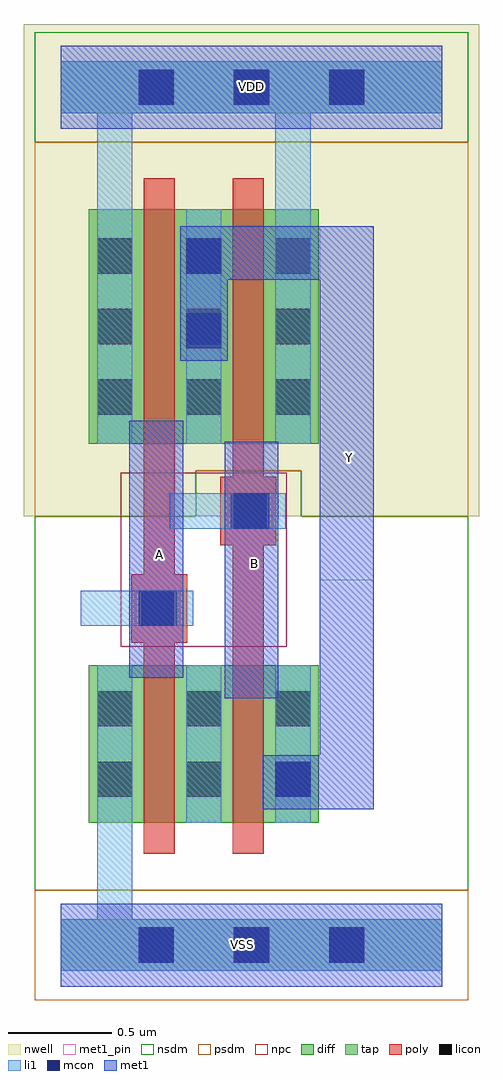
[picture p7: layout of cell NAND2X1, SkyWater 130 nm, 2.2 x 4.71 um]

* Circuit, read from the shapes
.subckt NAND2X1 A B VDD VSS Y
XM1 n1 A VSS VSS sky130_fd_pr__nfet_01v8 w=0.76 l=0.15
XM2 Y B n1 VSS sky130_fd_pr__nfet_01v8 w=0.76 l=0.15
XM3 Y A VDD VDD sky130_fd_pr__pfet_01v8 w=1.13 l=0.15
XM4 VDD B Y VDD sky130_fd_pr__pfet_01v8 w=1.13 l=0.15
.ends

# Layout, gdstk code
from math import pi, radians
import gdstk
lib = gdstk.Library(unit=1e-6, precision=1e-09)
def R(c, l, rs):  # rectangles x0, y0, x1, y1
    for r in rs: c.add(gdstk.rectangle(r[:2], r[2:], *l))
def A(c, l, x, y, w, h, nx, ny, dx, dy):  # array of equal rectangles
    R(c, l, [(x+i*dx, y+j*dy, x+i*dx+w, y+j*dy+h) for i in range(nx) for j in range(ny)])
def P(c, l, *ps):  # polygons
    for p in ps: c.add(gdstk.Polygon(p, *l))
nwell = (64, 20)
diff = (65, 20)
tap = (65, 44)
poly = (66, 20)
licon = (66, 44)
li1 = (67, 20)
mcon = (67, 44)
met1_pin = (68, 16)
met1 = (68, 20)
nsdm = (93, 44)
psdm = (94, 20)
npc = (95, 20)

pyl1con_c_cdns_751554744 = lib.new_cell('PYL1CON_C_CDNS_751554744751')
R(pyl1con_c_cdns_751554744, poly, [(-0.135,-0.165,0.135,0.165)])
R(pyl1con_c_cdns_751554744, licon, [(-0.085,-0.085,0.085,0.085)])
R(pyl1con_c_cdns_751554744, npc, [(-0.185,-0.185,0.185,0.185)])

l1m1_c_cdns_751554744750 = lib.new_cell('L1M1_C_CDNS_751554744750$$14')
R(l1m1_c_cdns_751554744750, li1, [(-0.085,-0.165,0.085,0.165)])
R(l1m1_c_cdns_751554744750, mcon, [(-0.085,-0.085,0.085,0.085)])
R(l1m1_c_cdns_751554744750, met1, [(-0.145,-0.145,0.115,0.115)])

c_l1m1_c_cdns_751554744750 = lib.new_cell('L1M1_C_CDNS_751554744750$$7')
R(c_l1m1_c_cdns_751554744750, li1, [(-0.085,-0.345,0.085,0.345)])
R(c_l1m1_c_cdns_751554744750, mcon, [(-0.085,-0.265,0.085,-0.095), (-0.085,0.095,0.085,0.265)])
R(c_l1m1_c_cdns_751554744750, met1, [(-0.115,-0.325,0.115,0.325)])

c_l1m1_c_cdns_751554744750_ = lib.new_cell('L1M1_C_CDNS_751554744750$$9')
R(c_l1m1_c_cdns_751554744750_, li1, [(-0.165,-0.085,0.165,0.085)])
R(c_l1m1_c_cdns_751554744750_, mcon, [(-0.085,-0.085,0.085,0.085)])
R(c_l1m1_c_cdns_751554744750_, met1, [(-0.115,-0.145,0.115,0.145)])

nand2x1 = lib.new_cell('NAND2X1')
R(nand2x1, nwell, [(-0.18,2.07,2.02,4.445)])
R(nand2x1, diff, [(0.135,0.59,1.245,1.35), (0.135,2.42,1.245,3.55)])
R(nand2x1, poly, [(0.4,0.44,0.55,3.7), (0.83,0.44,0.98,3.7)])
A(nand2x1, licon, 0.375, -0.085, 0.17, 0.17, 3, 2, 0.46, 4.14)
A(nand2x1, licon, 0.175, 0.715, 0.17, 0.17, 3, 2, 0.43, 0.34)
A(nand2x1, licon, 0.175, 2.56, 0.17, 0.17, 3, 3, 0.43, 0.34)
R(nand2x1, li1, [(1.035,0.59,1.205,1.35), (0.605,2.42,0.775,3.55)])
P(nand2x1, li1, [(1.84,0.125),(0.345,0.125),(0.345,1.35),(0.175,1.35),(0.175,0.125),(0,0.125),(0,-0.125),(1.84,-0.125)],
  [(1.84,4.265),(0,4.265),(0,4.015),(0.175,4.015),(0.175,2.42),(0.345,2.42),(0.345,4.015),(1.035,4.015),(1.035,2.42),(1.205,2.42),(1.205,4.015),(1.84,4.015)])
A(nand2x1, mcon, 0.375, -0.085, 0.17, 0.17, 3, 2, 0.46, 4.14)
R(nand2x1, met1_pin, [(0.79,1.19,1.05,2.43), (0.33,1.29,0.59,2.53), (1.25,1.76,1.51,3.47)])
R(nand2x1, nsdm, [(-0.125,3.875,1.965,4.405)])
P(nand2x1, nsdm, [(1.965,2.07),(1.16,2.07),(1.16,2.29),(0.65,2.29),(0.65,2.07),(-0.125,2.07),(-0.125,0.265),(1.965,0.265)])
R(nand2x1, psdm, [(-0.125,-0.265,1.965,0.265)])
P(nand2x1, psdm, [(1.965,3.875),(-0.125,3.875),(-0.125,2.07),(0.65,2.07),(0.65,2.29),(1.16,2.29),(1.16,2.07),(1.965,2.07)])
R(nand2x1, npc, [(0.29,1.44,1.09,2.28)])
nand2x1.add(gdstk.FlexPath([(0.095,1.625),(0.64,1.625)], 0.17, ends="flush", simple_path=True, layer=67, datatype=20))  # li1
nand2x1.add(gdstk.FlexPath([(0.525,2.095),(1.07,2.095)], 0.17, ends="flush", simple_path=True, layer=67, datatype=20))  # li1
nand2x1.add(gdstk.FlexPath([(0.69,1.35),(0.69,0.59)], 0.17, ends="flush", simple_path=True, layer=67, datatype=20))  # li1
nand2x1.add(gdstk.FlexPath([(0.805,3.34),(1.38,3.34),(1.38,0.785),(1.235,0.785)], 0.26, ends="flush", simple_path=True, layer=68, datatype=20))  # met1
nand2x1.add(gdstk.FlexPath([(0.92,2.43),(0.92,1.19)], 0.26, ends="flush", simple_path=True, layer=68, datatype=20))  # met1
nand2x1.add(gdstk.FlexPath([(0,4.14),(1.84,4.14)], 0.4, ends="flush", simple_path=True, layer=68, datatype=20))  # met1
nand2x1.add(gdstk.FlexPath([(0,0),(1.84,0)], 0.4, ends="flush", simple_path=True, layer=68, datatype=20))  # met1
nand2x1.add(gdstk.FlexPath([(0.46,1.29),(0.46,2.53)], 0.26, ends="flush", simple_path=True, layer=68, datatype=20))  # met1
nand2x1.add(gdstk.FlexPath([(0,0),(1.84,0)], 0.4, ends="flush", simple_path=True, layer=68, datatype=16))  # met1_pin
nand2x1.add(gdstk.FlexPath([(0,4.14),(1.84,4.14)], 0.4, ends="flush", simple_path=True, layer=68, datatype=16))  # met1_pin
nand2x1.add(gdstk.FlexPath([(0,4.14),(1.84,4.14)], 0.25, ends="flush", simple_path=True, layer=65, datatype=44))  # tap
nand2x1.add(gdstk.FlexPath([(0,0),(1.84,0)], 0.25, ends="flush", simple_path=True, layer=65, datatype=44))  # tap
nand2x1.add(gdstk.Reference(pyl1con_c_cdns_751554744, (0.905,2.095), rotation=pi, x_reflection=True))
nand2x1.add(gdstk.Reference(pyl1con_c_cdns_751554744, (0.475,1.625), rotation=pi, x_reflection=True))
nand2x1.add(gdstk.Reference(l1m1_c_cdns_751554744750, (1.12,0.8)))
nand2x1.add(gdstk.Reference(c_l1m1_c_cdns_751554744750, (0.69,3.145)))
nand2x1.add(gdstk.Reference(c_l1m1_c_cdns_751554744750_, (0.46,1.625), x_reflection=True))
nand2x1.add(gdstk.Reference(c_l1m1_c_cdns_751554744750_, (0.92,2.095)))
nand2x1.add(gdstk.Label('Y', (1.395,2.355), layer=68, texttype=5))
nand2x1.add(gdstk.Label('A', (0.475,1.885), layer=68, texttype=5))
nand2x1.add(gdstk.Label('B', (0.935,1.84), layer=68, texttype=5))
nand2x1.add(gdstk.Label('VDD', (0.92,4.145), layer=68, texttype=5))
nand2x1.add(gdstk.Label('VSS', (0.875,0.005), layer=68, texttype=5))

lib.write_gds('NAND2X1.gds')
